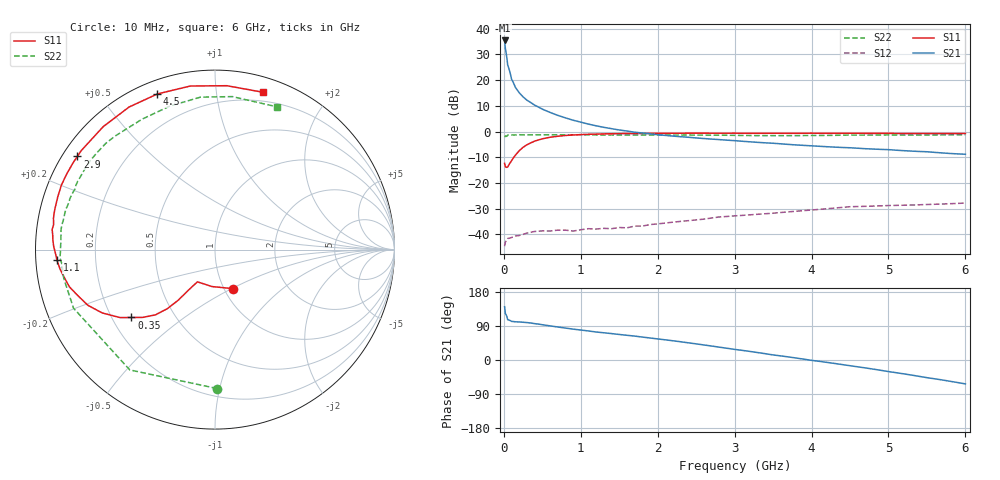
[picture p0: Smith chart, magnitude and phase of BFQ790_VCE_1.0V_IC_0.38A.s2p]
! Infineon Technologies  Discrete & RF Semiconductors
! BFQ790
! VCE =  1.0 V,  IC = 0.38 A
! Common Emitter S-Parameters:  May 2015
# GHz  S  MA  R  50
!  f  S11  S21  S12  S22
! GHz  MAG  ANG  MAG  ANG  MAG  ANG  MAG  ANG
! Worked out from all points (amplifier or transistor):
!   77 points, 10 MHz to 6 GHz, reference 50 ohm
!   highest |S21| = 35.4 dB at 10 MHz (marker M1)
!   |S21| within 3 dB of that: start of sweep to 19.49 MHz
!   unconditionally stable (mu >= 1): 80.75 MHz to end of sweep
!   at 130 MHz: K = 1.42, MAG = 25.8 dB, |S12| = -40.8 dB
!   at 2.2 GHz: K = 1.82, MAG = 11.5 dB, |S12| = -35.2 dB
!   at 6 GHz: K = 1.58, MAG = 5.0 dB, |S12| = -27.8 dB
!   S11 on the Smith chart (normalised r, x): 10 MHz: 1.10, -0.51; 350 MHz: 0.28, -0.33; 1.1 GHz: 0.06, -0.03; 2.9 GHz: 0.04, +0.31; 4.5 GHz: 0.06, +0.69; 6 GHz: 0.12, +1.34
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0.01  0.24 -65.0  58.87 140.7  0.0059 41.7  0.7742 -89.1
0.02  0.2067 -94.3  40.9 122.3  0.0071 28.8  0.8214 -125.3
0.05  0.2046 -118.6  19.59 106.3  0.0083 18.2  0.8531 -157.5
0.1  0.2695 -123.2  10.43 101.9  0.0087 12.4  0.8579 -169.2
0.15  0.3461 -125.9  7.22 100.8  0.0093 13.3  0.8566 -174.5
0.2  0.4232 -128.9  5.664 100.4  0.0095 15.5  0.8651 -177.0
0.25  0.4924 -132.4  4.717 99.6  0.01 15.6  0.8612 -179.1
0.3  0.5517 -136.8  4.062 98.8  0.0106 14.9  0.8606 179.2
0.35  0.5998 -140.9  3.657 97.6  0.011 15.2  0.8601 178.0
0.4  0.6505 -144.4  3.255 96.0  0.0114 15.4  0.8601 176.7
0.5  0.7209 -150.7  2.721 93.1  0.0117 12.0  0.8621 174.5
0.6  0.7737 -156.4  2.353 90.1  0.0116 13.6  0.8649 172.6
0.8  0.837 -165.6  1.844 84.3  0.0121 13.6  0.8609 169.2
1.1  0.8825 -176.2  1.392 76.6  0.0129 14.3  0.8602 164.6
1.5  0.908 174.8  1.071 67.4  0.0136 18.2  0.855 159.2
2.1  0.9217 163.4  0.84 53.2  0.0166 20.5  0.8524 150.2
2.9  0.9262 145.9  0.679 31.0  0.0223 12.3  0.845 133.5
3.1  0.9241 141.3  0.646 25.4  0.0234 9.6  0.8374 128.9
4.1  0.9243 119.0  0.516 -3.5  0.0306 -6.3  0.8384 105.0
4.5  0.9247 110.3  0.483 -15.1  0.0345 -14.7  0.8533 95.4
5.1  0.9169 96.1  0.433 -33.5  0.0366 -28.5  0.855 81.5
6  0.9164 73.2  0.361 -63.1  0.0407 -50.6  0.8674 66.5
